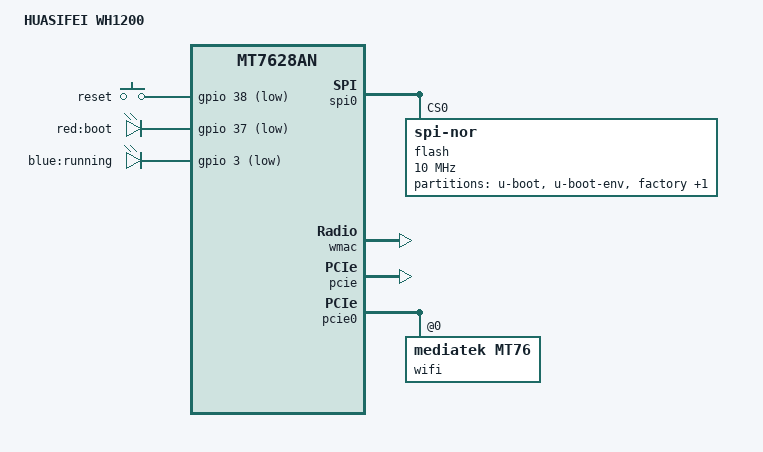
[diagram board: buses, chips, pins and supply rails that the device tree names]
// SPDX-License-Identifier: GPL-2.0-or-later OR MIT

#include "mt7628an.dtsi"

#include <dt-bindings/gpio/gpio.h>
#include <dt-bindings/input/input.h>

/ {
	compatible = "huasifei,wh1200", "mediatek,mt7628an-soc";
	model = "HUASIFEI WH1200";

	aliases {
		label-mac-device = &ethernet;
		led-boot = &led_red;
		led-running = &led_blue;
	};

	chosen {
		bootargs = "console=ttyS0,115200";
	};

	keys {
		compatible = "gpio-keys";

		reset {
			label = "reset";
			gpios = <&gpio 38 GPIO_ACTIVE_LOW>;
			linux,code = <KEY_RESTART>;
		};
	};

	leds {
		compatible = "gpio-leds";

		led_red: led_red {
			label = "red:boot";
			gpios = <&gpio 37 GPIO_ACTIVE_LOW>;
			default-state = "on";
		};

		led_blue: led_blue {
			label = "blue:running";
			gpios = <&gpio 3 GPIO_ACTIVE_LOW>;
		};
	};
};

&state_default {
	gpio {
		groups = "i2s", "refclk", "wdt", "gpio";
		function = "gpio";
	};
};

&spi0 {
	status = "okay";

	flash@0 {
		compatible = "jedec,spi-nor";
		reg = <0>;
		spi-max-frequency = <10000000>;

		partitions {
			compatible = "fixed-partitions";
			#address-cells = <1>;
			#size-cells = <1>;

			partition@0 {
				label = "u-boot";
				reg = <0x0 0x30000>;
				read-only;
			};

			partition@30000 {
				label = "u-boot-env";
				reg = <0x30000 0x10000>;
				read-only;
			};

			factory: partition@40000 {
				label = "factory";
				reg = <0x40000 0x10000>;
			};

			partition@50000 {
				compatible = "denx,uimage";
				label = "firmware";
				reg = <0x50000 0xfb0000>;
			};
		};
	};
};

&wmac {
	status = "okay";
};

&ethernet {
	mtd-mac-address = <&factory 0x4>;
	mtd-mac-address-increment = <2>;      // eth0 = base+2
};

&esw {
	mediatek,portmap = <0x03>;
};

&pcie {
	status = "okay";
};

&pcie0 {
	wifi@0,0 {
		compatible = "mediatek,mt76";
		reg = <0x0000 0 0 0 0>;
		mediatek,mtd-eeprom = <&factory 0x8000>;
		ieee80211-freq-limit = <5000000 6000000>;
		mtd-mac-address = <&factory 0x4>;
		mtd-mac-address-increment = <1>;      // 5G = base+1(末字节)
	};
};
